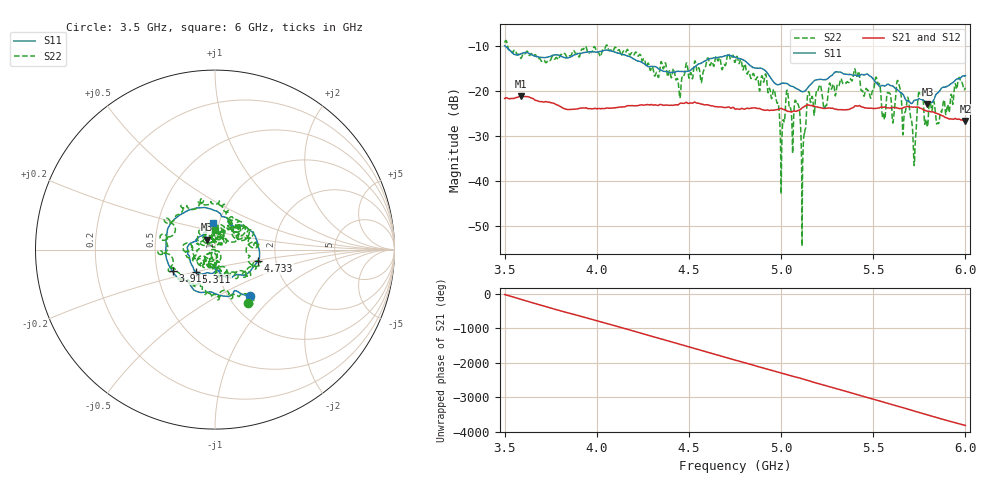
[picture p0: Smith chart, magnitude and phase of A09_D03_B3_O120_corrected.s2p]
! Created with skrf 1.9.0 (http://scikit-rf.org).
# Hz S RI R 50.0
!freq ReS11 ImS11 ReS21 ImS21 ReS12 ImS12 ReS22 ImS22
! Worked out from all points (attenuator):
!   1601 points, 3.5 GHz to 6 GHz, reference 50 ohm
!   highest |S21| = -21.15 dB at 3.587 GHz (marker M1); lowest = -26.6 dB at 6 GHz (marker M2)
!   lowest |S11| = -22.9 dB at 5.794 GHz (marker M3), VSWR 1.15, Z = 45.4 + j5.06 ohm
!   |S11| at or under -10 dB: 3.505 GHz to end of sweep
!   |S22| runs from -54.6 to -8.7 dB; largest |S21 - S12| = 0.00099
!   S11 on the Smith chart (normalised r, x): 3.5 GHz: 1.25, -0.72; 3.917 GHz: 0.60, -0.16; 4.733 GHz: 1.61, -0.21; 5.311 GHz: 0.79, -0.20; 6 GHz: 0.94, +0.29
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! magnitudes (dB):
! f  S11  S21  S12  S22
! 3.5 GHz  -9.8  -21.6  -21.6  -9.1
! 3.587 GHz  -11.6  -21.2  -21.1  -12.7
! 3.917 GHz  -11.5  -23.8  -23.7  -10.7
! 4.334 GHz  -15.0  -23.2  -23.1  -16.9
! 4.733 GHz  -12.1  -23.7  -23.7  -12.5
! 4.75 GHz  -12.4  -24.0  -23.9  -13.6
! 4.966 GHz  -18.2  -24.2  -24.2  -20.1
! 5.005 GHz  -18.2  -23.9  -23.9  -30.5
! 5.033 GHz  -18.3  -24.4  -24.4  -19.8
! 5.086 GHz  -19.5  -24.4  -24.4  -23.0
! 5.119 GHz  -20.1  -23.6  -23.5  -33.7
! 5.145 GHz  -19.2  -23.1  -23.0  -20.4
! 5.167 GHz  -18.2  -23.2  -23.2  -21.2
! 5.311 GHz  -15.7  -24.1  -24.1  -18.8
! 5.556 GHz  -18.8  -23.6  -23.5  -25.1
! 5.584 GHz  -18.5  -23.7  -23.7  -20.3
! 5.609 GHz  -18.9  -23.6  -23.6  -26.2
! 5.639 GHz  -19.9  -23.8  -23.8  -18.4
! 5.722 GHz  -22.1  -23.5  -23.5  -36.6
! 5.755 GHz  -21.7  -23.8  -23.7  -20.6
! 5.794 GHz  -22.9  -24.5  -24.4  -28.0
! 6 GHz  -16.5  -26.6  -26.6  -19.2
